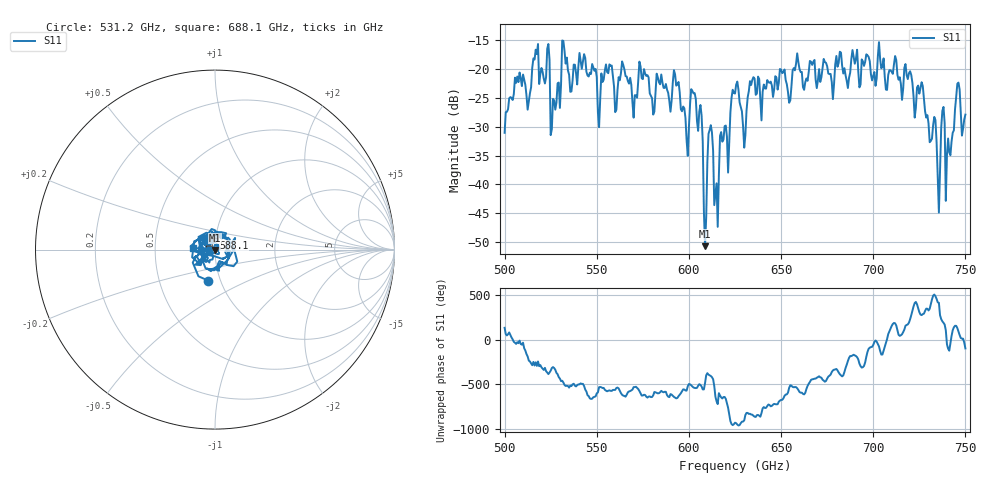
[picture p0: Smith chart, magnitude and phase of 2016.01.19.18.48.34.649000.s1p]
!Created with skrf (http://scikit-rf.org).
# GHz S RI R 50.0
!freq ReS11 ImS11
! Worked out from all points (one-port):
!   401 points, 500 GHz to 750 GHz, reference 50 ohm
!   lowest |S11| = -50.7 dB at 608.8 GHz (marker M1), VSWR 1.01, Z = 49.8 - j0.231 ohm
!   |S11| at or under -10 dB: start of sweep to end of sweep
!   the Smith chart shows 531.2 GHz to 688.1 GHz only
!   S11 on the Smith chart (normalised r, x): 531.2 GHz: 0.87, -0.31; 588.1 GHz: 0.98, +0.13; 688.1 GHz: 0.78, +0.02
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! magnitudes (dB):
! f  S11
! 500 GHz  -31.1
! 506.9 GHz  -21.3
! 513.1 GHz  -25.6
! 516.9 GHz  -16.7
! 523.1 GHz  -16.5
! 526.2 GHz  -25.2
! 531.2 GHz  -15.1
! 562.5 GHz  -22.0
! 588.1 GHz  -23.6
! 593.8 GHz  -22.7
! 598.8 GHz  -32.4
! 602.5 GHz  -24.2
! 606.2 GHz  -26.2
! 608.8 GHz  -50.7
! 611.2 GHz  -30.6
! 615 GHz  -39.8
! 625 GHz  -24.3
! 630 GHz  -33.6
! 634.4 GHz  -21.9
! 656.2 GHz  -20.3
! 687.5 GHz  -20.6
! 688.1 GHz  -18.2
! 718.8 GHz  -21.7
! 735.6 GHz  -44.9
! 737.5 GHz  -27.3
! 740.6 GHz  -32.0
! 745.6 GHz  -22.6
! 750 GHz  -27.9
